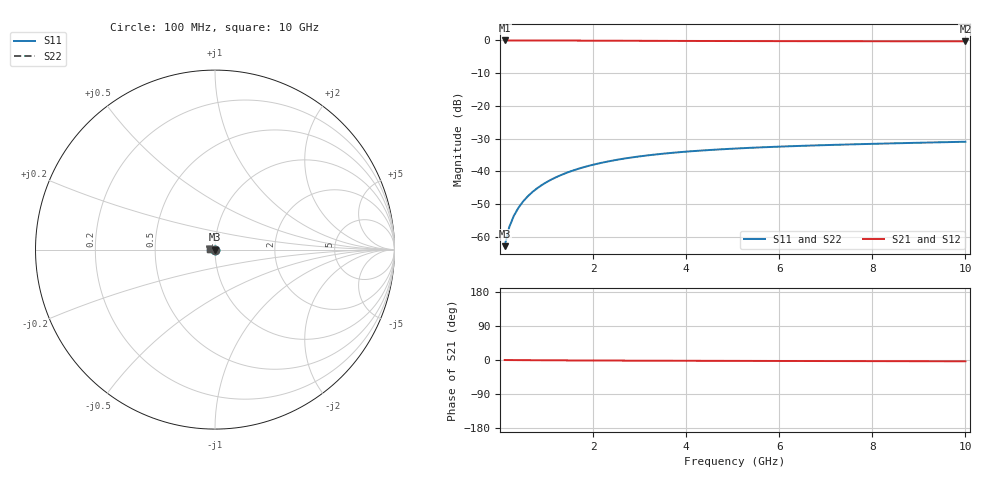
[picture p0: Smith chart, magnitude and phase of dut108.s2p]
! Touchstone file exported from HFSS 2024.1.0
!  File:  C:/UserFiles/LocalFiles/RDL_TSV_Batchsim/temp_TSV1_108_1779377607.aedt
!  Generated:  11:38:53 PM May 21, 2026
!  Design:  TSV1
!  Project:  temp_TSV1_108_1779377607
!  Setup:  Setup1
!  Solution:  Sweep
! Variables:
!  dtsv = 8.42um
!  hbump = 3um
!  htsv = 50.83um
!  lrdl = 252.1521522um
!  p = 40
!  p1 = 43.24um
!  t = 500um
!  trdl = 3um
!  wrdl = 24.89489489um
# GHz S MA R 50.000000
! Terminal data exported
! Port[1] = TSV22_T1
! Port[2] = TSV22_T2
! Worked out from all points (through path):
!   100 points, 100 MHz to 10 GHz, reference 50 ohm
!   highest |S21| = 0.00 dB at 100 MHz (marker M1); lowest = -0.3 dB at 10 GHz (marker M2)
!   lowest |S11| = -62.9 dB at 100 MHz (marker M3), VSWR 1.00, Z = 50 - j0.0705 ohm
!   |S11| at or under -10 dB: start of sweep to end of sweep
!   |S22| runs from -62.9 to -31.0 dB; largest |S21 - S12| = 4.3e-15
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0.1  0.0007188 -78.9  0.9998 -0.1  0.9998 -0.1  0.0007188 -78.9
! Gamma 0 0 0 0
! Port Impedance 50 0 50 0
0.2  0.001409 -87.0  0.9997 -0.2  0.9997 -0.2  0.001409 -87.0
0.3  0.002104 -91.0  0.9996 -0.2  0.9996 -0.2  0.002104 -91.0
0.4  0.002797 -93.9  0.9995 -0.3  0.9995 -0.3  0.002797 -93.9
0.5  0.003486 -96.3  0.9993 -0.4  0.9993 -0.4  0.003486 -96.3
0.6  0.00417 -98.4  0.999 -0.5  0.999 -0.5  0.00417 -98.4
0.7  0.004848 -100.5  0.9987 -0.5  0.9987 -0.5  0.004848 -100.5
0.8  0.005518 -102.4  0.9984 -0.6  0.9984 -0.6  0.005518 -102.4
0.9  0.006179 -104.3  0.998 -0.7  0.998 -0.7  0.006179 -104.3
1.1  0.007469 -107.8  0.9972 -0.8  0.9972 -0.8  0.007469 -107.8
1.4  0.009312 -112.8  0.9959 -1.0  0.9959 -1.0  0.009312 -112.8
1.6  0.01047 -116.0  0.9949 -1.1  0.9949 -1.1  0.01047 -116.0
1.8  0.01157 -119.0  0.9938 -1.2  0.9938 -1.2  0.01157 -119.0
2.1  0.01311 -123.4  0.9922 -1.4  0.9922 -1.4  0.01311 -123.4
2.5  0.01494 -128.8  0.9901 -1.6  0.9901 -1.6  0.01494 -128.8
2.9  0.01655 -133.7  0.988 -1.7  0.988 -1.7  0.01655 -133.7
3.4  0.01828 -139.4  0.9855 -1.9  0.9855 -1.9  0.01828 -139.4
4.2  0.02049 -147.3  0.9821 -2.1  0.9821 -2.1  0.02049 -147.3
5.1  0.02238 -154.9  0.9789 -2.4  0.9789 -2.4  0.02238 -154.9
6.7  0.0248 -165.8  0.9748 -2.7  0.9748 -2.7  0.0248 -165.8
8.4  0.02673 -175.1  0.9719 -3.1  0.9719 -3.1  0.02673 -175.1
10  0.02833 177.5  0.97 -3.4  0.97 -3.4  0.02833 177.5
